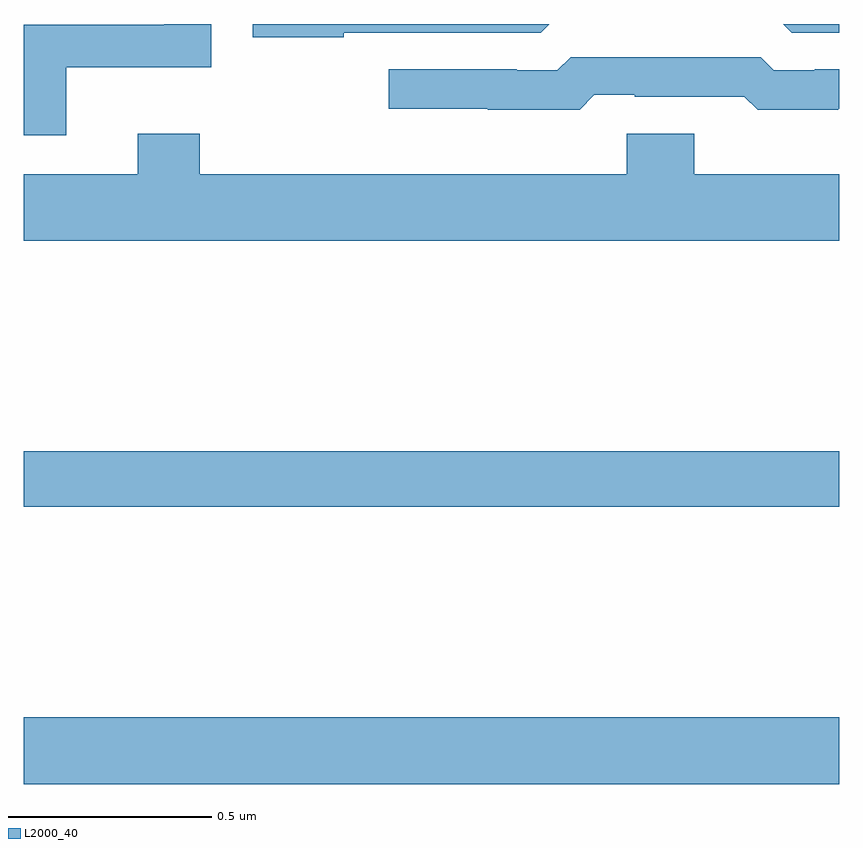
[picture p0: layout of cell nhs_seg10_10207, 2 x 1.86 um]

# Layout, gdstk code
import gdstk
lib = gdstk.Library(unit=1e-6, precision=1e-09)
def R(c, l, rs):  # rectangles x0, y0, x1, y1
    for r in rs: c.add(gdstk.rectangle(r[:2], r[2:], *l))
def P(c, l, *ps):  # polygons
    for p in ps: c.add(gdstk.Polygon(p, *l))
L2000_40 = (2000, 40)

nhs_seg10_10207 = lib.new_cell('nhs_seg10_10207')
R(nhs_seg10_10207, L2000_40, [(239,1313.636,241,1313.8), (239,1314.316,241,1314.452)])
P(nhs_seg10_10207, L2000_40, [(239.104,1315.394),(239.46,1315.394),(239.46,1315.5),(239.344,1315.5),(239.344,1315.498),(239,1315.498),(239,1315.227),(239.104,1315.227)],
  [(239.785,1315.479),(240.268,1315.479),(240.289,1315.5),(239.561,1315.5),(239.561,1315.467),(239.785,1315.467)],
  [(241,1315.5),(240.863,1315.5),(240.884,1315.479),(241,1315.479)],
  [(240.399,1315.326),(240.499,1315.326),(240.499,1315.322),(240.767,1315.322),(240.8,1315.29),(240.998,1315.29),(240.998,1315.292),(241,1315.292),(241,1315.389),(240.94,1315.389),(240.94,1315.386),(240.84,1315.386),(240.807,1315.419),(240.342,1315.419),(240.309,1315.386),(240.209,1315.386),(240.209,1315.389),(239.895,1315.389),(239.895,1315.292),(240.138,1315.292),(240.138,1315.29),(240.363,1315.29)],
  [(241,1315.132),(240.644,1315.132),(240.644,1315.231),(240.479,1315.231),(240.479,1315.132),(239.432,1315.132),(239.432,1315.231),(239.279,1315.231),(239.279,1315.132),(239,1315.132),(239,1314.968),(241,1314.968)])

lib.write_gds('nhs_seg10_10207.gds')
